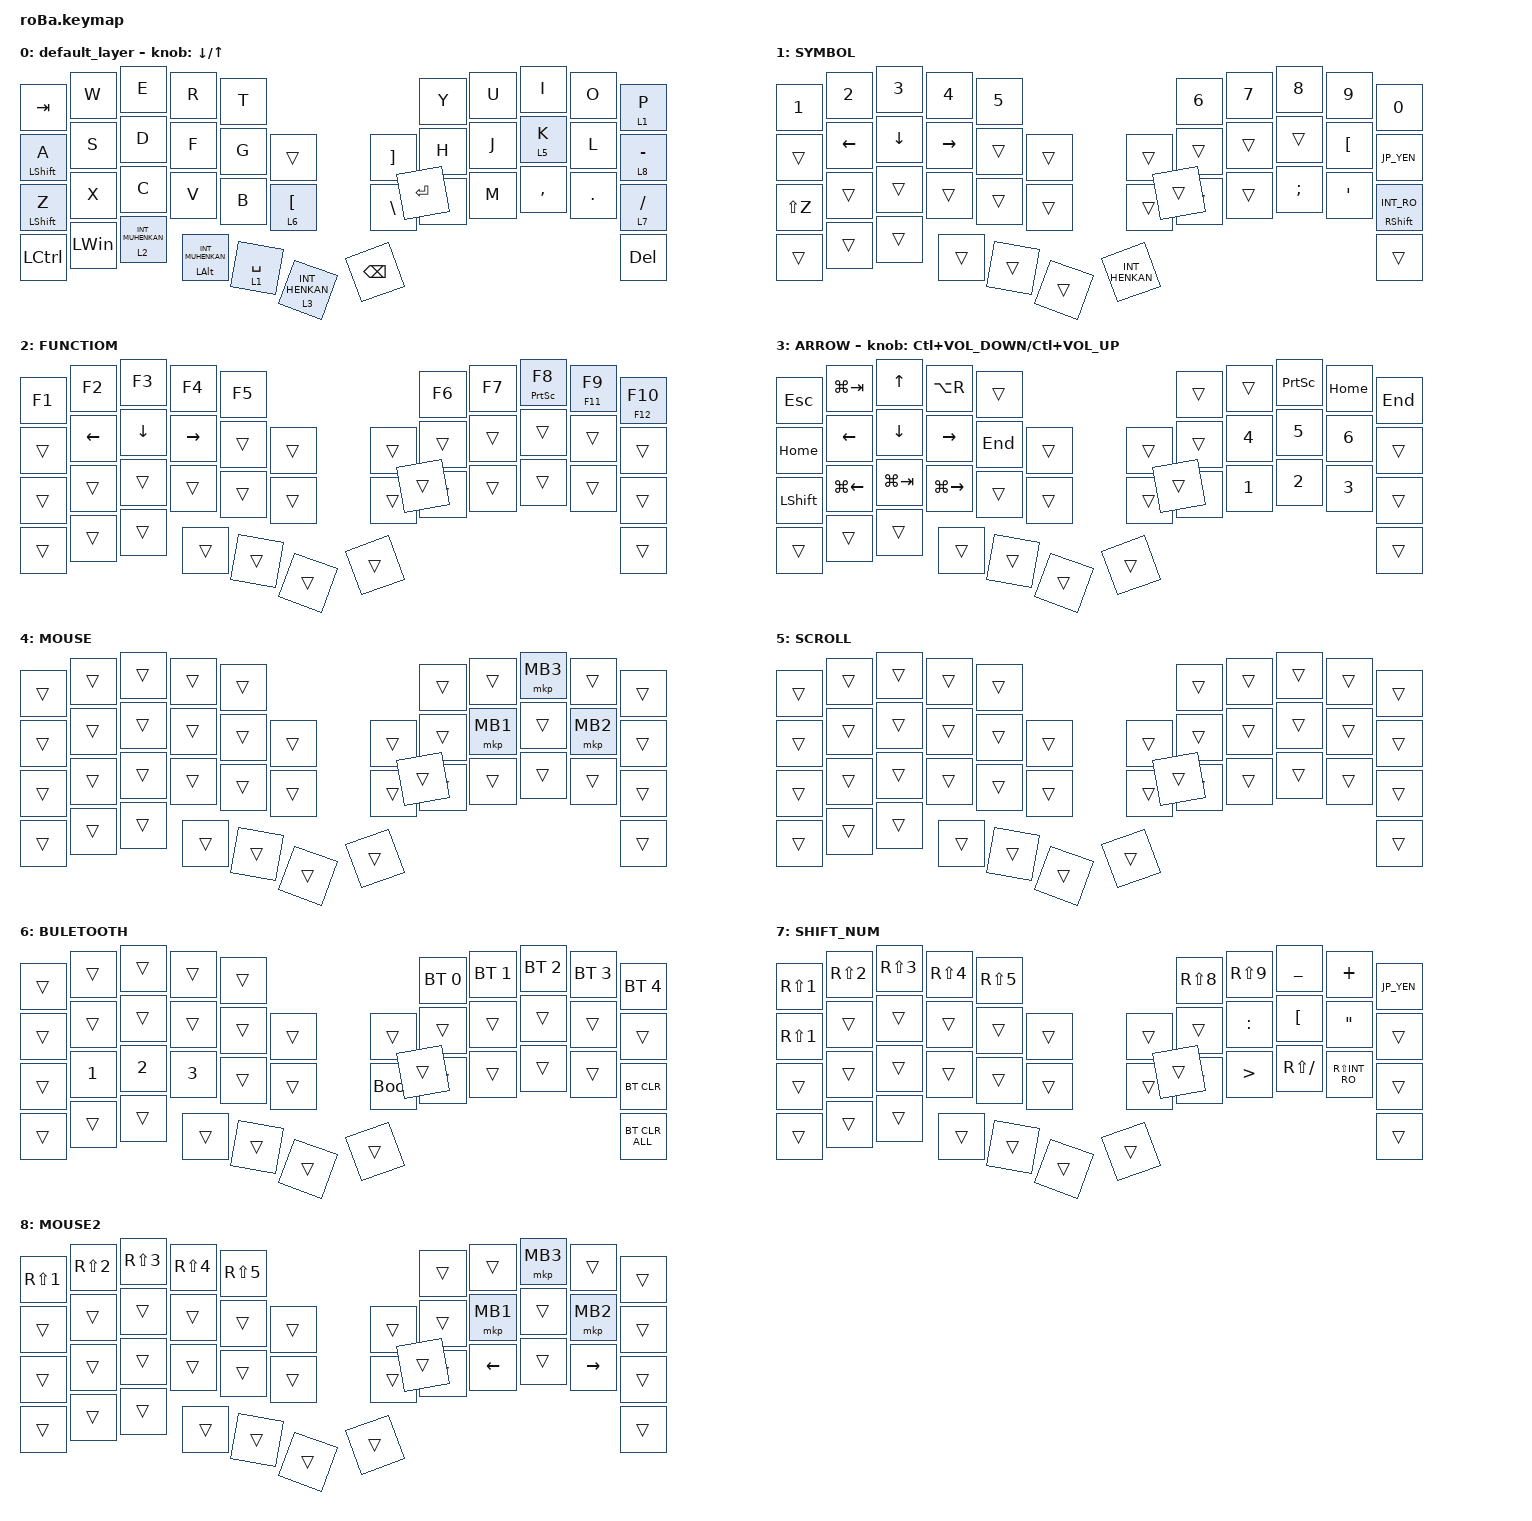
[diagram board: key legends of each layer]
#include <behaviors.dtsi>
#include <dt-bindings/zmk/bt.h>
#include <dt-bindings/zmk/keys.h>
#include <dt-bindings/zmk/pointing.h>

// OS設定を日本語キーボードのまま使用するための変換定義

#define JP_DQUOTE       AT                // "
#define JP_AMPERSAND    CARET             // &
#define JP_QUOTE        AMPERSAND         // '
#define JP_EQUAL        UNDER             // =
#define JP_CARET        EQUAL             // ^
#define JP_YEN          0x89              // ¥
#define JP_PLUS         COLON             // +
#define JP_TILDE        PLUS              // ~
#define JP_PIPE         LS(0x89)          // |
#define JP_AT           LEFT_BRACKET      // @
#define JP_COLON        SINGLE_QUOTE      // :
#define JP_ASTERISK     DOUBLE_QUOTES     // *
#define JP_BACKQUOTE    LEFT_BRACE        // `
#define JP_UNDERSCORE   LS(0x87)          // _
#define JP_LBRACKET     RIGHT_BRACKET     // [
#define JP_RBRACKET     BACKSLASH         // ]
#define JP_LPAREN       ASTERISK          // (
#define JP_RPAREN       LEFT_PARENTHESIS  // )
#define JP_LBRACE       RIGHT_BRACE       // {
#define JP_RBRACE       PIPE              // }
#define JP_KANA         LANGUAGE_1        // かな
#define JP_EISU         LANGUAGE_2        // 英数
#define JP_HANZEN       GRAVE             // 半角/全角

&mt {
    flavor = "balanced";
    quick-tap-ms = <0>;
};

&trackball {
    automouse-layer = <4>;
    scroll-layers = <5>;

    // arrows {
    //     layers = <3>;
    //     bindings =
    //         <&kp RIGHT_ARROW>,
    //         <&kp LEFT_ARROW>,
    //         <&kp UP_ARROW>,
    //         <&kp DOWN_ARROW>;
    //     tick = <10>;
    //     wait-ms = <5>;
    //     tap-ms = <5>;
    // };
};

/ {
    combos {
        compatible = "zmk,combos";

        eq {
            bindings = <&kp EQUAL>;
            key-positions = <24 25>;
        };

        q {
            bindings = <&kp Q>;
            key-positions = <0 10>;
            layers = <0>;
        };

        mouse4 {
            bindings = <&mkp MB4>;
            key-positions = <18 30>;
            layers = <4 8>;
        };

        mouce5 {
            bindings = <&mkp MB5>;
            key-positions = <20 32>;
            layers = <4 8>;
        };

        lay2-muhwnkan {
            bindings = <&lt 2 INT_MUHENKAN>;
            key-positions = <37 38>;
        };

        henkan {
            bindings = <&enter_henkan>;
            key-positions = <40 41>;
        };

        p {
            bindings = <&kp P>;
            key-positions = <9 21>;
            layers = <0>;
        };

        a {
            bindings = <&kp A>;
            key-positions = <1 11>;
        };

        q2 {
            bindings = <&kp Q>;
            key-positions = <0 1>;
        };

        z {
            bindings = <&kp Z>;
            key-positions = <23 11>;
        };

        AND {
            bindings = <&kp RS(NUMBER_6)>;
            key-positions = <5 17>;
        };

        APOSTROPHE_ {
            bindings = <&kp SQT>;
            key-positions = <6 18>;
        };
    };

    behaviors {
        hold_5000: hold_5000 {
            compatible = "zmk,behavior-hold-tap";
            label = "HOLD_5000";
            bindings = <&kp>, <&kp>;

            #binding-cells = <2>;
            tapping-term-ms = <5000>;
            quick-tap-ms = <(-1)>;
            require-prior-idle-ms = <(-1)>;
            flavor = "balanced";
        };

        hold_500: hold_500 {
            compatible = "zmk,behavior-hold-tap";
            label = "HOLD_500";
            bindings = <&kp>, <&kp>;

            #binding-cells = <2>;
            tapping-term-ms = <500>;
            quick-tap-ms = <(-1)>;
            require-prior-idle-ms = <(-1)>;
            flavor = "hold-preferred";
        };

        enter_henkan: enter_henkan {
            compatible = "zmk,behavior-tap-dance";
            label = "ENTER_HENKAN";
            #binding-cells = <0>;
            bindings = <&kp INT_HENKAN>, <&kp BACKSPACE>;
        };

        hold_10000: hold_10000 {
            compatible = "zmk,behavior-hold-tap";
            label = "HOLD_10000";
            bindings = <&lt>, <&kp>;

            #binding-cells = <2>;
            tapping-term-ms = <10000>;
            quick-tap-ms = <(-1)>;
            require-prior-idle-ms = <(-1)>;
            flavor = "tap-unless-interrupted";
        };
    };

    keymap {
        compatible = "zmk,keymap";

        default_layer {
            bindings = <
&kp TAB                  &kp W         &kp E               &kp R                            &kp T                                                 &kp Y      &kp U  &kp I      &kp O    &lt 1 P
&hold_5000 LEFT_SHIFT A  &kp S         &kp D               &kp F                            &kp G        &trans                  &kp JP_LBRACKET  &kp H      &kp J  &lt 5 K    &kp L    &lt 8 MINUS
&hold_5000 LEFT_SHIFT Z  &kp X         &kp C               &kp V                            &kp B        &lt 6 LEFT_BRACKET      &kp JP_RBRACKET  &kp N      &kp M  &kp COMMA  &kp DOT  &lt 7 SLASH
&kp LCTRL                &kp LEFT_WIN  &lt 2 INT_MUHENKAN  &hold_500 LEFT_ALT INT_MUHENKAN  &lt 1 SPACE  &lt 3 INT_HENKAN        &kp BACKSPACE    &kp ENTER                             &kp DEL
            >;

            sensor-bindings = <&inc_dec_kp DOWN_ARROW UP_ARROW>;
        };

        SYMBOL {
            bindings = <
&kp NUMBER_1  &kp NUMBER_2    &kp NUMBER_3    &kp NUMBER_4     &kp NUMBER_5                              &kp NUMBER_6  &kp NUMBER_7  &kp NUMBER_8   &kp NUMBER_9      &kp NUMBER_0
&trans        &kp LEFT_ARROW  &kp DOWN_ARROW  &kp RIGHT_ARROW  &trans        &trans      &trans          &trans        &trans        &trans         &kp LEFT_BRACKET  &kp JP_YEN
&kp LS(Z)     &trans          &trans          &trans           &trans        &trans      &trans          &trans        &trans        &kp SEMICOLON  &kp JP_COLON      &mt RIGHT_SHIFT INT_RO
&trans        &trans          &trans          &trans           &trans        &trans      &kp INT_HENKAN  &trans                                                       &trans
            >;
        };

        FUNCTIOM {
            bindings = <
&kp F1  &kp F2          &kp F3          &kp F4           &kp F5                      &kp F6  &kp F7  &mt PRINTSCREEN F8  &mt F11 F9  &mt F12 F10
&trans  &kp LEFT_ARROW  &kp DOWN_ARROW  &kp RIGHT_ARROW  &trans  &trans      &trans  &trans  &trans  &trans              &trans      &trans
&trans  &trans          &trans          &trans           &trans  &trans      &trans  &trans  &trans  &trans              &trans      &trans
&trans  &trans          &trans          &trans           &trans  &trans      &trans  &trans                                          &trans
            >;
        };

        ARROW {
            bindings = <
&kp ESCAPE      &kp LG(TAB)         &kp UP_ARROW    &kp LA(R)            &trans                       &trans        &trans        &kp PRINTSCREEN  &kp HOME      &kp END
&kp HOME        &kp LEFT_ARROW      &kp DOWN_ARROW  &kp RIGHT_ARROW      &kp END  &trans      &trans  &trans        &kp NUMBER_4  &kp NUMBER_5     &kp NUMBER_6  &trans
&kp LEFT_SHIFT  &kp LG(LEFT_ARROW)  &kp LG(TAB)     &kp LG(RIGHT_ARROW)  &trans   &trans      &trans  &kp NUMBER_0  &kp NUMBER_1  &kp NUMBER_2     &kp NUMBER_3  &trans
&trans          &trans              &trans          &trans               &trans   &trans      &trans  &trans                                                     &trans
            >;

            sensor-bindings = <&inc_dec_kp LC(C_VOLUME_DOWN) LC(C_VOLUME_UP)>;
        };

        MOUSE {
            bindings = <
&trans  &trans  &trans  &trans  &trans                      &trans  &trans    &mkp MB3  &trans    &trans
&trans  &trans  &trans  &trans  &trans  &trans      &trans  &trans  &mkp MB1  &trans    &mkp MB2  &trans
&trans  &trans  &trans  &trans  &trans  &trans      &trans  &trans  &trans    &trans    &trans    &trans
&trans  &trans  &trans  &trans  &trans  &trans      &trans  &trans                                &trans
            >;
        };

        SCROLL {
            bindings = <
&trans  &trans  &trans  &trans  &trans                      &trans  &trans  &trans  &trans  &trans
&trans  &trans  &trans  &trans  &trans  &trans      &trans  &trans  &trans  &trans  &trans  &trans
&trans  &trans  &trans  &trans  &trans  &trans      &trans  &trans  &trans  &trans  &trans  &trans
&trans  &trans  &trans  &trans  &trans  &trans      &trans  &trans                          &trans
            >;
        };

        BULETOOTH {
            bindings = <
&trans  &trans        &trans        &trans        &trans                           &bt BT_SEL 0  &bt BT_SEL 1  &bt BT_SEL 2  &bt BT_SEL 3  &bt BT_SEL 4
&trans  &trans        &trans        &trans        &trans  &trans      &trans       &trans        &trans        &trans        &trans        &trans
&trans  &kp NUMBER_1  &kp NUMBER_2  &kp NUMBER_3  &trans  &trans      &bootloader  &trans        &trans        &trans        &trans        &bt BT_CLR
&trans  &trans        &trans        &trans        &trans  &trans      &trans       &trans                                                  &bt BT_CLR_ALL
            >;
        };

        SHIFT_NUM {
            bindings = <
&kp RS(NUMBER_1)  &kp RS(NUMBER_2)  &kp RS(NUMBER_3)  &kp RS(NUMBER_4)  &kp RS(N5)                      &kp RS(NUMBER_8)  &kp RS(NUMBER_9)  &kp JP_EQUAL   &kp JP_TILDE     &kp JP_YEN
&kp RS(NUMBER_1)  &trans            &trans            &trans            &trans      &trans      &trans  &trans            &kp JP_PLUS       &kp JP_AT      &kp JP_ASTERISK  &trans
&trans            &trans            &trans            &trans            &trans      &trans      &trans  &kp LESS_THAN     &kp GREATER_THAN  &kp RS(SLASH)  &kp RS(INT_RO)   &trans
&trans            &trans            &trans            &trans            &trans      &trans      &trans  &trans                                                              &trans
            >;
        };

        MOUSE2 {
            bindings = <
&kp RS(NUMBER_1)  &kp RS(NUMBER_2)  &kp RS(NUMBER_3)  &kp RS(NUMBER_4)  &kp RS(NUMBER_5)                      &trans  &trans          &mkp MB3  &trans           &trans
&trans            &trans            &trans            &trans            &trans            &trans      &trans  &trans  &mkp MB1        &trans    &mkp MB2         &trans
&trans            &trans            &trans            &trans            &trans            &trans      &trans  &trans  &kp LEFT_ARROW  &trans    &kp RIGHT_ARROW  &trans
&trans            &trans            &trans            &trans            &trans            &trans      &trans  &trans                                             &trans
            >;
        };
    };
};
